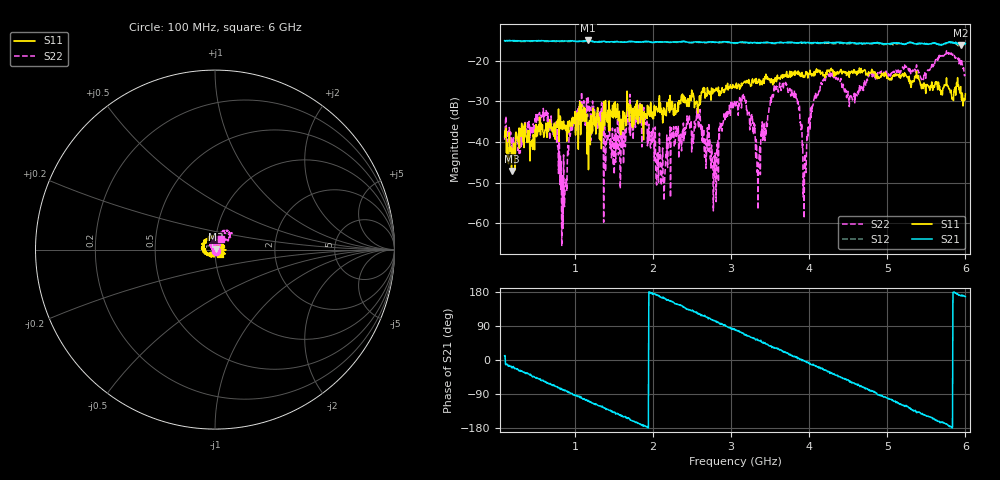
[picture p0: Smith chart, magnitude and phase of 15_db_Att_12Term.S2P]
!Created with skrf (http://scikit-rf.org).
# MHz S RI R 50.0
!freq ReS11 ImS11 ReS21 ImS21 ReS12 ImS12 ReS22 ImS22
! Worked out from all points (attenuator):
!   1001 points, 100 MHz to 6 GHz, reference 50 ohm
!   highest |S21| = -14.98 dB at 1.168 GHz (marker M1); lowest = -16.1 dB at 5.947 GHz (marker M2)
!   lowest |S11| = -47.1 dB at 188.5 MHz (marker M3), VSWR 1.01, Z = 50.4 + j0.0597 ohm
!   |S11| at or under -10 dB: start of sweep to end of sweep
!   |S22| runs from -65.6 to -17.5 dB; largest |S21 - S12| = 0.019
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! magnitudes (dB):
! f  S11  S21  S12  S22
! 100 MHz  -38.7  -15.0  -15.1  -39.4
! 188.5 MHz  -47.1  -15.0  -15.2  -41.6
! 625.1 MHz  -37.0  -15.1  -15.2  -33.5
! 861.1 MHz  -36.1  -15.2  -15.2  -54.2
! 955.5 MHz  -35.4  -15.1  -15.2  -37.1
! 1.085 GHz  -30.6  -15.2  -15.4  -27.7
! 1.168 GHz  -35.2  -15.0  -15.1  -28.7
! 1.492 GHz  -34.1  -15.3  -15.4  -45.8
! 1.894 GHz  -33.8  -15.3  -15.2  -33.4
! 2.071 GHz  -32.4  -15.4  -15.4  -49.9
! 2.578 GHz  -30.8  -15.3  -15.5  -35.6
! 2.784 GHz  -27.6  -15.4  -15.4  -43.4
! 3.05 GHz  -26.7  -15.6  -15.7  -30.8
! 3.174 GHz  -25.0  -15.4  -15.5  -29.4
! 3.345 GHz  -25.1  -15.6  -15.7  -56.6
! 3.693 GHz  -23.6  -15.5  -15.5  -25.4
! 3.846 GHz  -22.8  -15.6  -15.7  -29.6
! 3.941 GHz  -24.0  -15.5  -15.6  -43.8
! 4.035 GHz  -23.7  -15.5  -15.8  -32.5
! 5.021 GHz  -24.3  -15.8  -15.9  -23.3
! 5.947 GHz  -29.1  -16.1  -16.3  -20.5
! 6 GHz  -28.2  -15.7  -15.9  -23.4
